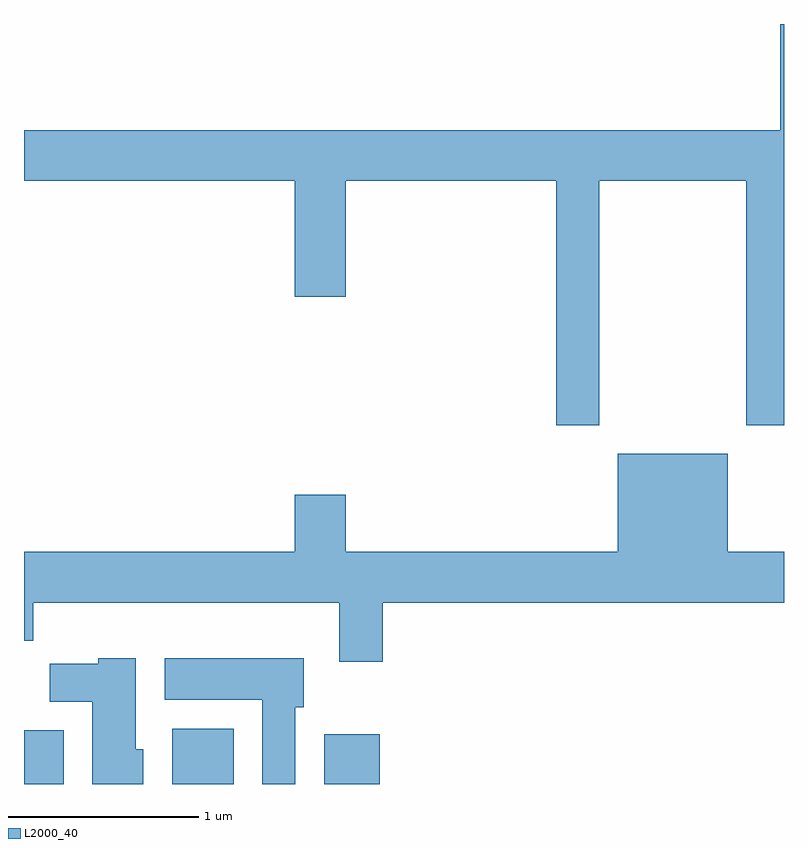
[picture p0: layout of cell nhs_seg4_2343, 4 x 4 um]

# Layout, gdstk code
import gdstk
lib = gdstk.Library(unit=1e-6, precision=1e-09)
def R(c, l, rs):  # rectangles x0, y0, x1, y1
    for r in rs: c.add(gdstk.rectangle(r[:2], r[2:], *l))
def P(c, l, *ps):  # polygons
    for p in ps: c.add(gdstk.Polygon(p, *l))
L2000_40 = (2000, 40)

nhs_seg4_2343 = lib.new_cell('nhs_seg4_2343')
R(nhs_seg4_2343, L2000_40, [(253.611,1315.982,253.819,1316.264), (254.391,1315.982,254.714,1316.274), (255.191,1315.982,255.484,1316.244)])
P(nhs_seg4_2343, L2000_40, [(256.639,1319.156),(257.411,1319.156),(257.411,1317.871),(257.611,1317.871),(257.611,1319.982),(257.591,1319.982),(257.591,1319.424),(253.611,1319.424),(253.611,1319.156),(255.036,1319.156),(255.036,1318.546),(255.304,1318.546),(255.304,1319.156),(256.411,1319.156),(256.411,1317.871),(256.639,1317.871)],
  [(255.499,1316.936),(257.611,1316.936),(257.611,1317.204),(257.314,1317.204),(257.314,1317.719),(256.736,1317.719),(256.736,1317.204),(255.304,1317.204),(255.304,1317.504),(255.036,1317.504),(255.036,1317.204),(253.611,1317.204),(253.611,1316.736),(253.659,1316.736),(253.659,1316.936),(255.271,1316.936),(255.271,1316.626),(255.499,1316.626)],
  [(254.239,1316.164),(254.199,1316.164),(254.199,1316.644),(254.001,1316.644),(254.001,1316.614),(253.746,1316.614),(253.746,1316.416),(253.971,1316.416),(253.971,1315.982),(254.239,1315.982)],
  [(255.039,1316.386),(255.084,1316.386),(255.084,1316.644),(254.351,1316.644),(254.351,1316.426),(254.866,1316.426),(254.866,1315.982),(255.039,1315.982)])

lib.write_gds('nhs_seg4_2343.gds')
